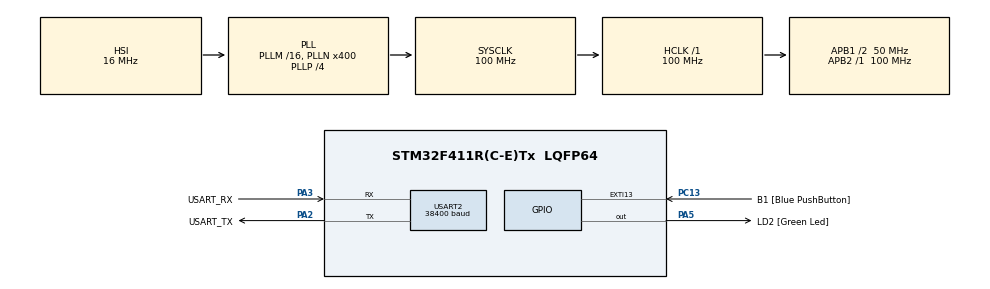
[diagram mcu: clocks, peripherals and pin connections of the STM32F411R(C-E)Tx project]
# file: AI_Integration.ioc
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Mcu.Family=STM32F4
Mcu.Name=STM32F411R(C-E)Tx
Mcu.Package=LQFP64
NVIC.PriorityGroup=NVIC_PRIORITYGROUP_0
NVIC.USART2_IRQn=true\:0\:0\:false\:false\:true\:true
PA13.GPIO_Label=TMS
PA13.Mode=Serial_Wire
PA13.Signal=SYS_JTMS-SWDIO
PA14.GPIO_Label=TCK
PA14.Mode=Serial_Wire
PA14.Signal=SYS_JTCK-SWCLK
PA2.GPIO_Label=USART_TX
PA2.Mode=Asynchronous
PA2.Signal=USART2_TX
PA3.GPIO_Label=USART_RX
PA3.Mode=Asynchronous
PA3.Signal=USART2_RX
PA5.GPIO_Label=LD2 [Green Led]
PA5.Signal=GPIO_Output
PB3.GPIO_Label=SWO
PB3.Signal=SYS_JTDO-SWO
PC13-ANTI_TAMP.GPIO_Label=B1 [Blue PushButton]
PC13-ANTI_TAMP.GPIO_ModeDefaultEXTI=GPIO_MODE_IT_FALLING
PC13-ANTI_TAMP.Signal=GPXTI13
PC14-OSC32_IN.Mode=LSE-External-Oscillator
PC14-OSC32_IN.Signal=RCC_OSC32_IN
PC15-OSC32_OUT.Mode=LSE-External-Oscillator
PC15-OSC32_OUT.Signal=RCC_OSC32_OUT
PH0\ -\ OSC_IN.Mode=HSE-External-Clock-Source
PH0\ -\ OSC_IN.Signal=RCC_OSC_IN
PH1\ -\ OSC_OUT.Mode=HSE-External-Clock-Source
PH1\ -\ OSC_OUT.Signal=RCC_OSC_OUT
ProjectManager.HeapSize=0x200
ProjectManager.StackSize=0x400
ProjectManager.TargetToolchain=SW4STM32
RCC.48MHZClocksFreq_Value=100000000
RCC.AHBFreq_Value=100000000
RCC.APB1CLKDivider=RCC_HCLK_DIV2
RCC.APB1Freq_Value=50000000
RCC.APB1TimFreq_Value=100000000
RCC.APB2Freq_Value=100000000
RCC.APB2TimFreq_Value=100000000
RCC.CortexFreq_Value=100000000
RCC.FLatency-AdvancedSettings=FLASH_LATENCY_3
RCC.HCLKFreq_Value=100000000
RCC.HSE_VALUE=8000000
RCC.HSI_VALUE=16000000
RCC.PLLN=400
RCC.PLLP=RCC_PLLP_DIV4
RCC.SYSCLKFreq_VALUE=100000000
RCC.SYSCLKSource=RCC_SYSCLKSOURCE_PLLCLK
RCC.VCOOutputFreq_Value=400000000
USART2.BaudRate=38400
USART2.Mode=MODE_TX_RX
USART2.VirtualMode=VM_ASYNC
board=NUCLEO-F411RE

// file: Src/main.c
/* USER CODE BEGIN Header */
/*   MIT License
*
*    Copyright (c) 2019 Timothy Pansino, Adam Behnke, Zachary Neumann, Mitchell Keeney
*
*    Permission is hereby granted, free of charge, to any person obtaining a copy
*    of this software and associated documentation files (the "Software"), to deal
*    in the Software without restriction, including without limitation the rights
*    to use, copy, modify, merge, publish, distribute, sublicense, and/or sell
*    copies of the Software, and to permit persons to whom the Software is
*    furnished to do so, subject to the following conditions:
*
*    The above copyright notice and this permission notice shall be included in all
*    copies or substantial portions of the Software.
*
*    THE SOFTWARE IS PROVIDED "AS IS", WITHOUT WARRANTY OF ANY KIND, EXPRESS OR
*    IMPLIED, INCLUDING BUT NOT LIMITED TO THE WARRANTIES OF MERCHANTABILITY,
*    FITNESS FOR A PARTICULAR PURPOSE AND NONINFRINGEMENT. IN NO EVENT SHALL THE
*    AUTHORS OR COPYRIGHT HOLDERS BE LIABLE FOR ANY CLAIM, DAMAGES OR OTHER
*    LIABILITY, WHETHER IN AN ACTION OF CONTRACT, TORT OR OTHERWISE, ARISING FROM,
*    OUT OF OR IN CONNECTION WITH THE SOFTWARE OR THE USE OR OTHER DEALINGS IN THE
*    SOFTWARE.
*/
/**
 ******************************************************************************
 * @file           : main.c
 * @brief          : Main program body
 ******************************************************************************
 ** This notice applies to any and all portions of this file
 * that are not between comment pairs USER CODE BEGIN and
 * USER CODE END. Other portions of this file, whether
 * inserted by the user or by software development tools
 * are owned by their respective copyright owners.
 *
 * COPYRIGHT(c) 2019 STMicroelectronics
 *
 * Redistribution and use in source and binary forms, with or without modification,
 * are permitted provided that the following conditions are met:
 *   1. Redistributions of source code must retain the above copyright notice,
 *      this list of conditions and the following disclaimer.
 *   2. Redistributions in binary form must reproduce the above copyright notice,
 *      this list of conditions and the following disclaimer in the documentation
 *      and/or other materials provided with the distribution.
 *   3. Neither the name of STMicroelectronics nor the names of its contributors
 *      may be used to endorse or promote products derived from this software
 *      without specific prior written permission.
 *
 * THIS SOFTWARE IS PROVIDED BY THE COPYRIGHT HOLDERS AND CONTRIBUTORS "AS IS"
 * AND ANY EXPRESS OR IMPLIED WARRANTIES, INCLUDING, BUT NOT LIMITED TO, THE
 * IMPLIED WARRANTIES OF MERCHANTABILITY AND FITNESS FOR A PARTICULAR PURPOSE ARE
 * DISCLAIMED. IN NO EVENT SHALL THE COPYRIGHT HOLDER OR CONTRIBUTORS BE LIABLE
 * FOR ANY DIRECT, INDIRECT, INCIDENTAL, SPECIAL, EXEMPLARY, OR CONSEQUENTIAL
 * DAMAGES (INCLUDING, BUT NOT LIMITED TO, PROCUREMENT OF SUBSTITUTE GOODS OR
 * SERVICES; LOSS OF USE, DATA, OR PROFITS; OR BUSINESS INTERRUPTION) HOWEVER
 * CAUSED AND ON ANY THEORY OF LIABILITY, WHETHER IN CONTRACT, STRICT LIABILITY,
 * OR TORT (INCLUDING NEGLIGENCE OR OTHERWISE) ARISING IN ANY WAY OUT OF THE USE
 * OF THIS SOFTWARE, EVEN IF ADVISED OF THE POSSIBILITY OF SUCH DAMAGE.
 *
 ******************************************************************************
 */
/* USER CODE END Header */

#include "main.h"

/* USER CODE BEGIN Includes */
#include <string.h>

#include "ai.h"
#include "pieces.h"
#include "drivers.h"
#include "chess.h"
#include "debug.h"
#include "defs.h"
#include "protos.h"
#include "data.h"

/* USER CODE END Includes */

UART_HandleTypeDef huart2;

/* USER CODE BEGIN PV */
char receiveBuffer[100];
char transmitBuffer[100];
char s[100];

char * newlineStr = NEWLINE_STR;
char * backSpace = BACKSPACE_STR;

C colors;
B curBoard;
B prevBoard;
M curMoves;
Move curMove;
Piece tempPiece;
int check = 0;
int status = 0;
int curSide = White;
int aiSide = 0;

/* Used to store data received from the UART */
uint8_t receivedData = 0;

/* Current Location in receiveBuffer */
int currentLocation = 0;

/* Flag signaling completed reception of line of text */
int dataReceivedFlag = 0;
/* USER CODE END PV */

void SystemClock_Config(void);
static void MX_GPIO_Init(void);
static void MX_USART2_UART_Init(void);
/* USER CODE BEGIN PFP */
//static void write_LCD_msg(char lcd_upr[], char lcd_low[]);
//static void write_LCD_instr(uint8_t * instru);
void HAL_UART_RxCpltCallback(UART_HandleTypeDef * huart);

int chessMain(void);
void chessInit(char aiSide);
char * receiveString(void);
void transmitString(char * );
/* USER CODE END PFP */

int main(void) {
    /* USER CODE BEGIN 1 */
    int status;
    /* USER CODE END 1 */

    /* MCU Configuration--------------------------------------------------------*/

    /* Reset of all peripherals, Initializes the Flash interface and the Systick. */
    HAL_Init();

    /* Configure the system clock */
    SystemClock_Config();

    /* Initialize all configured peripherals */
    MX_GPIO_Init();
    MX_USART2_UART_Init();
    /* USER CODE BEGIN 2 */
    char send_xboard_msg[16];

    chessInit(Black);

    Print(CLEAR_TERMINAL);
    Print("\nWelcome to my half-baked chess simulator.\nType \"help\" for options!\n");
    Print("\n");
    printBoard(curBoard);

    /* USER CODE END 2 */

    /* Infinite loop */
    /* USER CODE BEGIN WHILE */
    while (1) {
        status = chessMain();
    }
    /* USER CODE END WHILE */

}

void SystemClock_Config(void) {
    RCC_OscInitTypeDef RCC_OscInitStruct = {
        0
    };
    RCC_ClkInitTypeDef RCC_ClkInitStruct = {
        0
    };

    /**Configure the main internal regulator output voltage
     */
    __HAL_RCC_PWR_CLK_ENABLE();
    __HAL_PWR_VOLTAGESCALING_CONFIG(PWR_REGULATOR_VOLTAGE_SCALE1);
    /**Initializes the CPU, AHB and APB busses clocks
     */
    RCC_OscInitStruct.OscillatorType = RCC_OSCILLATORTYPE_HSI;
    RCC_OscInitStruct.HSIState = RCC_HSI_ON;
    RCC_OscInitStruct.HSICalibrationValue = RCC_HSICALIBRATION_DEFAULT;
    RCC_OscInitStruct.PLL.PLLState = RCC_PLL_ON;
    RCC_OscInitStruct.PLL.PLLSource = RCC_PLLSOURCE_HSI;
    RCC_OscInitStruct.PLL.PLLM = 16;
    RCC_OscInitStruct.PLL.PLLN = 400;
    RCC_OscInitStruct.PLL.PLLP = RCC_PLLP_DIV4;
    RCC_OscInitStruct.PLL.PLLQ = 4;
    if (HAL_RCC_OscConfig( & RCC_OscInitStruct) != HAL_OK) {
        Error_Handler();
    }
    /**Initializes the CPU, AHB and APB busses clocks
     */
    RCC_ClkInitStruct.ClockType = RCC_CLOCKTYPE_HCLK | RCC_CLOCKTYPE_SYSCLK |
                                  RCC_CLOCKTYPE_PCLK1 | RCC_CLOCKTYPE_PCLK2;
    RCC_ClkInitStruct.SYSCLKSource = RCC_SYSCLKSOURCE_PLLCLK;
    RCC_ClkInitStruct.AHBCLKDivider = RCC_SYSCLK_DIV1;
    RCC_ClkInitStruct.APB1CLKDivider = RCC_HCLK_DIV2;
    RCC_ClkInitStruct.APB2CLKDivider = RCC_HCLK_DIV1;

    if (HAL_RCC_ClockConfig( & RCC_ClkInitStruct, FLASH_LATENCY_3) != HAL_OK) {
        Error_Handler();
    }
}

static void MX_USART2_UART_Init(void) {

    huart2.Instance = USART2;
    huart2.Init.BaudRate = 38400;
    huart2.Init.WordLength = UART_WORDLENGTH_8B;
    huart2.Init.StopBits = UART_STOPBITS_1;
    huart2.Init.Parity = UART_PARITY_NONE;
    huart2.Init.Mode = UART_MODE_TX_RX;
    huart2.Init.HwFlowCtl = UART_HWCONTROL_NONE;
    huart2.Init.OverSampling = UART_OVERSAMPLING_16;
    if (HAL_UART_Init( & huart2) != HAL_OK) {
        Error_Handler();
    }

}

static void MX_GPIO_Init(void) {
    GPIO_InitTypeDef GPIO_InitStruct = {
        0
    };

    /* GPIO Ports Clock Enable */
    __HAL_RCC_GPIOC_CLK_ENABLE();
    __HAL_RCC_GPIOH_CLK_ENABLE();
    __HAL_RCC_GPIOA_CLK_ENABLE();
    __HAL_RCC_GPIOB_CLK_ENABLE();

    /*Configure GPIO pin Output Level */
    HAL_GPIO_WritePin(LD2_GPIO_Port, LD2_Pin, GPIO_PIN_RESET);

    /*Configure GPIO pin : B1_Pin */
    GPIO_InitStruct.Pin = B1_Pin;
    GPIO_InitStruct.Mode = GPIO_MODE_IT_FALLING;
    GPIO_InitStruct.Pull = GPIO_NOPULL;
    HAL_GPIO_Init(B1_GPIO_Port, & GPIO_InitStruct);

    /*Configure GPIO pin : LD2_Pin */
    GPIO_InitStruct.Pin = LD2_Pin;
    GPIO_InitStruct.Mode = GPIO_MODE_OUTPUT_PP;
    GPIO_InitStruct.Pull = GPIO_NOPULL;
    GPIO_InitStruct.Speed = GPIO_SPEED_FREQ_LOW;
    HAL_GPIO_Init(LD2_GPIO_Port, & GPIO_InitStruct);

}

/* USER CODE BEGIN 4 */
void chessInit(char aiSide) {
    char aiParam = 0;
    switch (aiSide) {
    case White:
        aiParam = DARK;
        break;
    case Black:
        aiParam = LIGHT;
        break;
    default:
        aiParam = EMPTY;
        break;
    }
    defaultBoard(curBoard);
    defaultBoard(prevBoard);
    blankColors(colors);
    aiInit(aiParam);

    aiSide = Black;
    curSide = White;
}

int chessMain(void) {
    if (curSide == aiSide) { // AI Turn
        s[0] = '\0';
        aiMakeMove(s);
        if (strlen(s) > 0) {
            Print("AI Move: %s\n", s);
            strToMove(s, & curMove);
            makeMove(curBoard, curMove);
            copyBoard(prevBoard, curBoard);
            printBoard(curBoard);

            switch (curSide) {
            case White:
                curSide = Black;
                break;
            case Black:
                curSide = White;
                break;
            }
        }
        else {
            Print("Error: AI Failed to move.\n");
        }
    }
    else { // Player Turn
        printTurn(curSide);
        status = gameStatus(curBoard, curSide);
        Print("Game Status: %d\n", status);
        Print(">");
        Scan(s);
        if (strcmp(s, "exit") == 0) {
            Print("Exiting...\n");
            return 10;
        }
        else if (strcmp(s, "help") == 0) {
            Print("help: This menu.\n");
            Print("b2c2: Movement example.\n");
            Print("d4: Lift piece example (replaces in same spot afterwards).\n");
            Print("ai <command>: Sends the command specified to the ai.\n");
            Print("dela1: Delete piece example.\n");
            Print("pute5: Replace last deleted piece example.\n");
            Print("skip: Ends current turn.\n");
            Print("force: Ends current turn and accepts board state.\n");
            Print("reset: Put the board back to the last accepted state.\n");
            Print("newgame: Start a new game.\n");
            Print("exit: Leave the simulator.\n");
        }
        else if (strcmp(s, "reset") == 0) {
            Print("Reset board to last state.\n");
            copyBoard(curBoard, prevBoard);
        }
        else if ((s[0] == 'a') && (s[1] == 'i') && (s[2] == ' ')) {
            aiParseCommand(s + 3);
        }
        else if (strcmp(s, "force") == 0) {
            Print("Forced the board to accept current state.\n");
            copyBoard(prevBoard, curBoard);
            check = 0;
            switch (curSide) {
            case White:
                curSide = Black;
                break;
            case Black:
                curSide = White;
                break;
            }

            if ((status = gameStatus(curBoard, curSide)) > 1) {
                return status;
            }
        }
        else if (strcmp(s, "skip") == 0) {
            Print("Skipping current turn.\n");
            check = 0;
            switch (curSide) {
            case White:
                curSide = Black;
                break;
            case Black:
                curSide = White;
                break;
            }

            if ((status = gameStatus(curBoard, curSide)) > 1) {
                return status;
            }
        }
        else if (strcmp(s, "newgame") == 0) {
            check = 0;
            status = 0;
            curSide = White;

            defaultBoard(curBoard);
            defaultBoard(prevBoard);
            blankColors(colors);

            Print("New Game Started.\n");
        }
        else if ((strlen(s) == 5) && (s[0] == 'd') && (s[1] == 'e') && (s[2] == 'l')) {
            // Delete a piece
            int x, y;
            int flag = 0;

            if ((x = charToCoord(s[3])) == -1) flag = 1;
            if ((y = charToCoord(s[4])) == -1) flag = 1;
            if (flag) {
                Print("Error: Move could not be parsed.\n");
            }
            else {
                tempPiece.type = curBoard[x][y].type;
                tempPiece.side = curBoard[x][y].side;
                tempPiece.promotion = curBoard[x][y].promotion;
                tempPiece.unmoved = 0;

                curBoard[x][y].type = 0;
                curBoard[x][y].side = 0;
                check = 1;
            }
        }
        else if ((strlen(s) == 5) && (s[0] == 'p') && (s[1] == 'u') && (s[2] == 't')) {
            // Delete a piece
            int x, y;
            int flag = 0;

            if ((x = charToCoord(s[3])) == -1) flag = 1;
            if ((y = charToCoord(s[4])) == -1) flag = 1;
            if (flag) {
                Print("Error: Move could not be parsed.\n");
            }
            else if (tempPiece.side == 0) {
                Print("Error: No piece to replace.\n");
            }
            else {
                curBoard[x][y].type = tempPiece.type;
                curBoard[x][y].side = tempPiece.side;
                curBoard[x][y].promotion = tempPiece.promotion;
                curBoard[x][y].unmoved = 0;
                tempPiece.side = 0;

                check = 1;
            }
        }
        else if (strlen(s) == 2) {
            // Lift a piece to view colors
            int x, y;
            int flag = 0;

            if ((x = charToCoord(s[0])) == -1) flag = 1;
            if ((y = charToCoord(s[1])) == -1) flag = 1;
            if (flag) {
                Print("Error: Move could not be parsed.\n");
            }
            else {
                // Lift Piece
                tempPiece.type = curBoard[x][y].type;
                tempPiece.side = curBoard[x][y].side;
                curBoard[x][y].type = 0;
                curBoard[x][y].side = 0;

                // Display Status
                check = parseState(curBoard, prevBoard, curSide, colors, & curMove);
                printColors(colors);

                // Replace Piece
                curBoard[x][y].type = tempPiece.type;
                curBoard[x][y].side = tempPiece.side;

                // Display Moves
                if (curSide == curBoard[x][y].side) {
                    validMoves(curBoard, curMoves, y, x);
                    //printMoves(curBoard, curMobes);
                }
                check = 0;
            }
        }
        else if (strlen(s) == 4) {
            // Move a piece
            int x, y, xx, yy;
            int flag = 0;
            if ((x = charToCoord(s[0])) == -1) flag = 1;
            if ((y = charToCoord(s[1])) == -1) flag = 1;
            if ((xx = charToCoord(s[2])) == -1) flag = 1;
            if ((yy = charToCoord(s[3])) == -1) flag = 1;

            s[0] = x + 'a';
            s[1] = y + '1';
            s[2] = xx + 'a';
            s[3] = yy + '1';
            s[4] = '\0';

            if (flag) {
                Print("Error: Move could not be parsed.\n");
            }
            else {
                movePiece(curBoard, y, x, yy, xx, 0);
                aiParseCommand(s);
                check = 1;
            }
        }
        else {
            Print("Error: Could not parse command.\n");
        }

        if (check) {
            check = parseState(curBoard, prevBoard, curSide, colors, & curMove);
            if (check == 1) {
                copyBoard(prevBoard, curBoard);
                switch (curSide) {
                case White:
                    curSide = Black;
                    break;
                case Black:
                    curSide = White;
                    break;
                }

                Print("Move Accepted.\n");
                Print("Move: %c%c-%c%c\n", curMove.sourceCol + 'A', curMove.sourceRow + '1', curMove.destCol + 'A', curMove.destRow + '1');
                printColors(colors);
                printBoard(curBoard);
                if ((status = gameStatus(curBoard, curSide)) > 1) {
                    return status;
                }
            }
            else {
                Print("Board State Invalid.\n");
                printColors(colors);
                printBoard(curBoard);
                Print("Use \"reset\" to go back.\n");
            }
            check = 0;
        }
        else {
            Print("\n");
            printBoard(curBoard);
        }
    }
    return 0;
}

/*
static void write_LCD_msg(char lcd_upr[], char lcd_low[])
{
    uint8_t loc_instru = CURMOV;
    write_LCD_instr(&loc_instru);
    loc_instru = LINE1;
    write_LCD_instr(&loc_instru);
    HAL_GPIO_WritePin (GPIOC, rs_Pin, GPIO_PIN_SET);

    uint8_t x = lcd_upr[0];
    int count = 0;
    while(x != '\0')
    {
        HAL_SPI_Transmit (&hspi3, (uint8_t) &lcd_upr[count], 1, TIMEOUT);
        while(HAL_SPI_GetState(&hspi3) != HAL_SPI_STATE_READY)
            ;
        HAL_GPIO_WritePin (GPIOC, lcd_en_Pin, GPIO_PIN_SET);
        HAL_Delay(1);
        HAL_GPIO_WritePin (GPIOC, lcd_en_Pin, GPIO_PIN_RESET);
        count++;
        x = lcd_upr[count];
    }
    loc_instru = CURMOV;
    write_LCD_instr(&loc_instru);
    loc_instru = LINE2;
    write_LCD_instr(&loc_instru);
    HAL_GPIO_WritePin (GPIOC, rs_Pin, GPIO_PIN_SET);

    x = lcd_low[0];
    count = 0;
    while(x != '\0')
    {
        HAL_SPI_Transmit (&hspi3, (uint8_t) &lcd_upr[count], 1, TIMEOUT);
        while(HAL_SPI_GetState(&hspi3) != HAL_SPI_STATE_READY)
            ;
        HAL_GPIO_WritePin (GPIOC, lcd_en_Pin, GPIO_PIN_RESET);
        HAL_GPIO_WritePin (GPIOC, lcd_en_Pin, GPIO_PIN_SET);
        HAL_Delay(1);
        HAL_GPIO_WritePin (GPIOC, lcd_en_Pin, GPIO_PIN_RESET);
        count++;
        x = lcd_low[count];
    }
}

static void write_LCD_instr(uint8_t * instru)
{
    HAL_GPIO_WritePin (GPIOC, rs_Pin, GPIO_PIN_RESET);
    HAL_SPI_Transmit (&hspi3, instru, 1, TIMEOUT);
    while(HAL_SPI_GetState(&hspi3) != HAL_SPI_STATE_READY)
        ;
    HAL_GPIO_WritePin (GPIOC, lcd_en_Pin, GPIO_PIN_RESET);
    HAL_GPIO_WritePin (GPIOC, lcd_en_Pin, GPIO_PIN_SET);
    HAL_Delay(1);
    HAL_GPIO_WritePin (GPIOC, lcd_en_Pin, GPIO_PIN_RESET);
}
*/

void HAL_UART_RxCpltCallback(UART_HandleTypeDef * huart) {
    /* Move data into buffer */
    receiveBuffer[currentLocation] = receivedData;

    /* Variable to keep track of location in buffer */
    if (((char) receiveBuffer[currentLocation] == '\n') || ((char) receiveBuffer[currentLocation] == '\r')) {
        HAL_UART_Transmit( & huart2, (uint8_t * ) newlineStr, 2, TIMEOUT);
        dataReceivedFlag = 1;
        receiveBuffer[currentLocation] = '\0';
        currentLocation = 0;
    }
    else if (((char) receiveBuffer[currentLocation] == 0x08) || ((char) receiveBuffer[currentLocation] == 0x7F)) {
        if (currentLocation > 0) {
            Print(backSpace);
            receiveBuffer[currentLocation] = '\0';
            currentLocation--;
        }
    }
    else {
        HAL_UART_Transmit( & huart2, & receivedData, 1, TIMEOUT);
        currentLocation++;
    }
}

char * receiveString(void) {
    /* Listen for input; print back to screen when fully received */
    while (!dataReceivedFlag) {
        HAL_UART_Receive_IT( & huart2, & receivedData, 1);
    }
    dataReceivedFlag = 0;
    return receiveBuffer;
}

void transmitString(char * s) {
    //int size = 0;
    int i;

    //while(s[size] != '\0') size++;
    for (i = 0; s[i] != '\0'; i++) {
        if (s[i] == '\n') {
            HAL_UART_Transmit( & huart2, (uint8_t * ) newlineStr, 2, TIMEOUT);
        }
        else if (s[i] != '\r' && s[i] != '\0') {
            HAL_UART_Transmit( & huart2, (uint8_t * ) & s[i], 1, TIMEOUT);
        }
    }
    //HAL_UART_Transmit_IT(&huart2, (uint8_t *) s, size);

    return;
}

void Print(const char * format, ...) {
    va_list args;
    va_start(args, format);
    vsprintf(transmitBuffer, format, args);
    transmitString(transmitBuffer);
    va_end(args);

    return;
}

void Scan(char * s) {
    receiveString();
    strcpy(s, receiveBuffer);

    return;
}
/* move_str returns a string with move m in coordinate notation */

/* USER CODE END 4 */

void Error_Handler(void) {
}

# ifdef USE_FULL_ASSERT
/**
 * @brief  Reports the name of the source file and the source line number
 *         where the assert_param error has occurred.
 * @param  file: pointer to the source file name
 * @param  line: assert_param error line source number
 * @retval None
 */
void assert_failed(uint8_t * file, uint32_t line) {
}
#endif /* USE_FULL_ASSERT */

/************************ (C) COPYRIGHT STMicroelectronics *****END OF FILE****/
